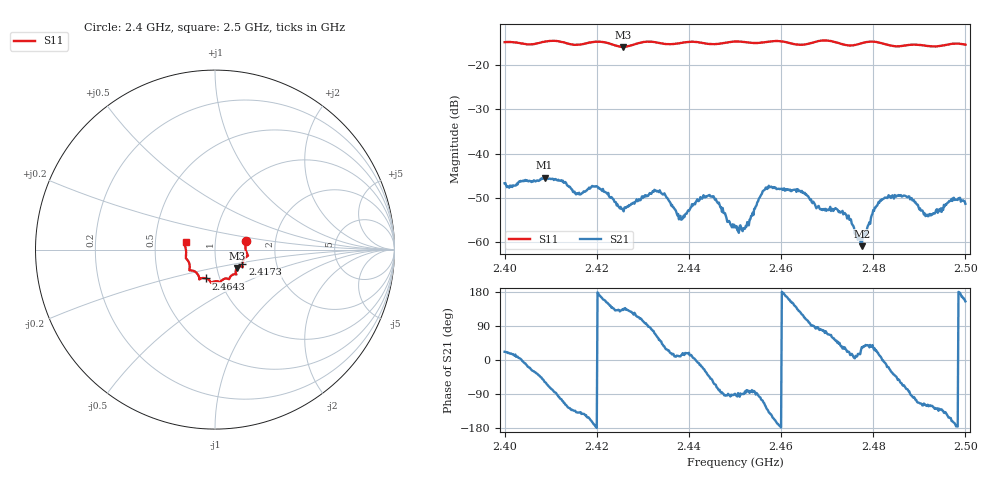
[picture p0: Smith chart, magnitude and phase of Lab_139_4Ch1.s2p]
# Hz S RI R 50
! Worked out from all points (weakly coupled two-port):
!   601 points, 2.4 GHz to 2.5 GHz, reference 50 ohm
!   highest |S21| = -45.37 dB at 2.4087 GHz (marker M1); lowest = -60.8 dB at 2.4775 GHz (marker M2)
!   lowest |S11| = -15.9 dB at 2.4257 GHz (marker M3), VSWR 1.38, Z = 62.4 - j13.1 ohm
!   |S11| at or under -10 dB: start of sweep to end of sweep
!   S12 and S22 are empty: the file has one direction only
!   S11 on the Smith chart (normalised r, x): 2.4 GHz: 1.41, +0.14; 2.4173 GHz: 1.34, -0.23; 2.4643 GHz: 0.86, -0.28; 2.5 GHz: 0.72, +0.06
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2.4e9  0.1733 0.0496  0.00431 0.00172  0 0  0 0
2.408667e9  0.1808 -0.0262  0.00288 -0.00455  0 0  0 0
2.416667e9  0.1528 -0.0749  -0.0028 -0.00215  0 0  0 0
2.417333e9  0.1523 -0.0824  -0.00298 -0.00224  0 0  0 0
2.42e9  0.1544 -0.0971  -0.0043 -3.9e-05  0 0  0 0
2.425667e9  0.1226 -0.1021  -0.00155 0.00174  0 0  0 0
2.433333e9  0.1128 -0.1367  0.00199 0.00321  0 0  0 0
2.438333e9  0.082 -0.1562  0.00176 0.000407  0 0  0 0
2.444833e9  0.0568 -0.1616  0.00213 -0.0025  0 0  0 0
2.45e9  0.0295 -0.1809  2.36e-05 -0.00148  0 0  0 0
2.4525e9  0.0204 -0.1784  0.000275 -0.00149  0 0  0 0
2.456833e9  -0.0124 -0.1804  -0.00255 -0.00329  0 0  0 0
2.464333e9  -0.0503 -0.1607  -0.00202 0.00309  0 0  0 0
2.466667e9  -0.0763 -0.1599  -2.2e-05 0.00284  0 0  0 0
2.473667e9  -0.095 -0.1395  0.00186 0.00106  0 0  0 0
2.4775e9  -0.1314 -0.1162  0.000756 0.000503  0 0  0 0
2.4805e9  -0.143 -0.112  0.00225 0.00101  0 0  0 0
2.483333e9  -0.1411 -0.0895  0.00322 -0.00112  0 0  0 0
2.487333e9  -0.1574 -0.0543  0.00074 -0.00315  0 0  0 0
2.4915e9  -0.1611 -0.0301  -0.00104 -0.00175  0 0  0 0
2.497e9  -0.1704 0.0265  -0.00293 -0.00101  0 0  0 0
2.5e9  -0.1637 0.042  -0.00246 0.00116  0 0  0 0
